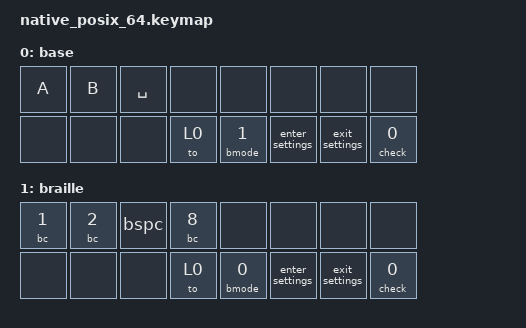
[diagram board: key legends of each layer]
/* SPDX-License-Identifier: MIT */
#include <behaviors.dtsi>
#include <behaviors/braille.dtsi>
#include <dt-bindings/zmk/keys.h>
#include <dt-bindings/zmk/kscan_mock.h>

/ {
    behaviors {
        check: test_check { compatible = "braille,test-check"; #binding-cells = <1>; };
        enter_settings: test_entry { compatible = "braille,test-entry"; #binding-cells = <0>; };
        exit_settings: test_exit { compatible = "braille,test-exit"; #binding-cells = <0>; };
    };
    keymap {
        compatible = "zmk,keymap";
        base {
            bindings = <
                &kp A &kp B &kp SPACE &none &none &none &none &none
                &none &none &none &to 0 &bmode 1 &enter_settings &exit_settings &check 0
            >;
        };
        braille {
            bindings = <
                &bc 1 &bc 2 &bspc &bc 8 &none &none &none &none
                &none &none &none &to 0 &bmode 0 &enter_settings &exit_settings &check 0
            >;
        };
    };
};

#define TAP(row, col) ZMK_MOCK_PRESS(row, col, 10) ZMK_MOCK_RELEASE(row, col, 10)
#define CHECK TAP(1, 7)

&kscan {
    columns = <8>;
    events = <
        CHECK
        /* Interrupt well before tapping term; target dots must chord, not A/B. */
        ZMK_MOCK_PRESS(1, 4, 10)
        ZMK_MOCK_PRESS(0, 0, 10) ZMK_MOCK_PRESS(0, 1, 10)
        ZMK_MOCK_RELEASE(0, 0, 10) ZMK_MOCK_RELEASE(0, 1, 10)
        ZMK_MOCK_RELEASE(1, 4, 10)
        CHECK
        /* Timer-resolved hold stays momentary, including Braille space. */
        ZMK_MOCK_PRESS(1, 4, 250) TAP(0, 2) ZMK_MOCK_RELEASE(1, 4, 10)
        CHECK
        /* Tap locks target; target's bmode pointing back returns. */
        TAP(1, 4) CHECK TAP(1, 4) CHECK
        /* Ordinary layer return also works. */
        TAP(1, 4) TAP(1, 3) CHECK
        /* Releasing mode first must still release the original dot binding. */
        ZMK_MOCK_PRESS(1, 4, 10) ZMK_MOCK_PRESS(0, 0, 10)
        ZMK_MOCK_RELEASE(1, 4, 10) ZMK_MOCK_RELEASE(0, 0, 10)
        CHECK
        /* Use a fixture rule action (dot 8) to invoke the real settings gate through a test entry. */
        TAP(1, 4) TAP(0, 3) CHECK
        /* Active settings chords never reach the typing consumer. */
        TAP(0, 1) CHECK
        /* A settings chord held across exit must not resume as host input. */
        ZMK_MOCK_PRESS(0, 0, 10) TAP(1, 6) ZMK_MOCK_RELEASE(0, 0, 10)
        TAP(0, 1) CHECK
        /* Enter while a dot is held; discard that whole chord too. */
        ZMK_MOCK_PRESS(0, 0, 10) TAP(1, 5) ZMK_MOCK_RELEASE(0, 0, 10)
        TAP(0, 1) TAP(1, 6) CHECK
        TAP(1, 4) CHECK
    >;
};
